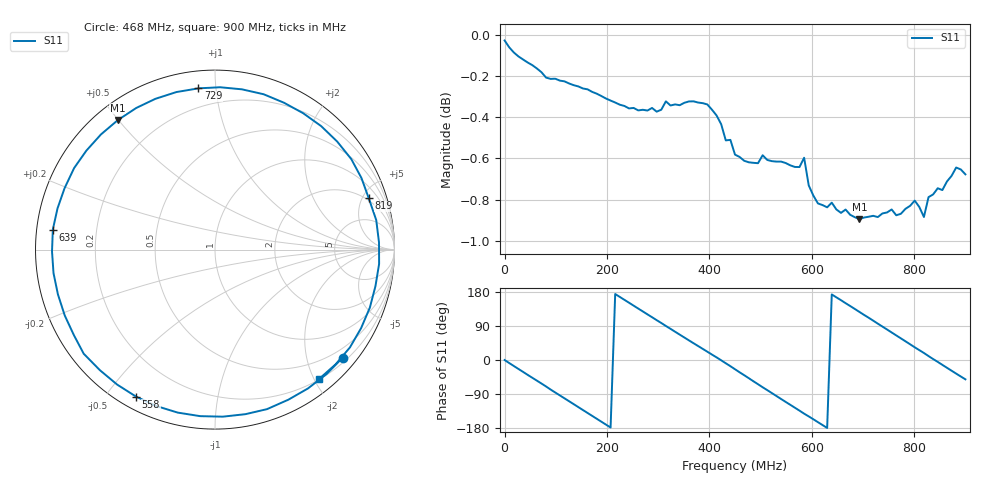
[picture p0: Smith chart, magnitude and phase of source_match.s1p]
! Created with skrf 1.8.0 (http://scikit-rf.org).
# Hz S RI R 50.0
!freq ReS11 ImS11
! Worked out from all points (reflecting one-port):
!   101 points, 50 kHz to 900 MHz, reference 50 ohm
!   lowest |S11| = -0.9 dB at 693 MHz (marker M1), VSWR 19.42, Z = 3.22 + j24.9 ohm
!   phase of S11 starts at -0 deg and turns -771 deg over the sweep
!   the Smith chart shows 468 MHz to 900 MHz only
!   S11 on the Smith chart (normalised r, x): 468 MHz: 0.30, -2.71; 558 MHz: 0.05, -0.60; 639 MHz: 0.05, +0.06; 729 MHz: 0.09, +0.90; 819 MHz: 1.79, +5.58; 900 MHz: 0.21, -2.08
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50000  0.997 -0.00119
2.70485e7  0.9054 -0.3957
6.30465e7  0.5706 -0.7985
9.0045e7  0.201 -0.9548
1.170435e8  -0.1888 -0.9559
1.710405e8  -0.8163 -0.5215
2.250375e8  -0.9349 0.2257
2.52036e8  -0.7708 0.5722
2.88034e8  -0.3732 0.8845
3.150325e8  0.00343 0.9635
3.42031e8  0.3759 0.8849
3.96028e8  0.8929 0.3576
4.230265e8  0.9512 -0.013
4.50025e8  0.8514 -0.3871
4.68024e8  0.7121 -0.6013
5.130215e8  0.1694 -0.9169
5.58019e8  -0.44 -0.8189
5.670185e8  -0.5451 -0.752
6.030165e8  -0.8371 -0.367
6.390145e8  -0.9037 0.1108
6.750125e8  -0.7166 0.5515
6.930115e8  -0.5413 0.7216
7.290095e8  -0.0925 0.8984
7.56008e8  0.2708 0.8656
7.92006e8  0.6809 0.6019
8.190045e8  0.8564 0.2867
8.550025e8  0.894 -0.2035
9e8  0.582 -0.7189
